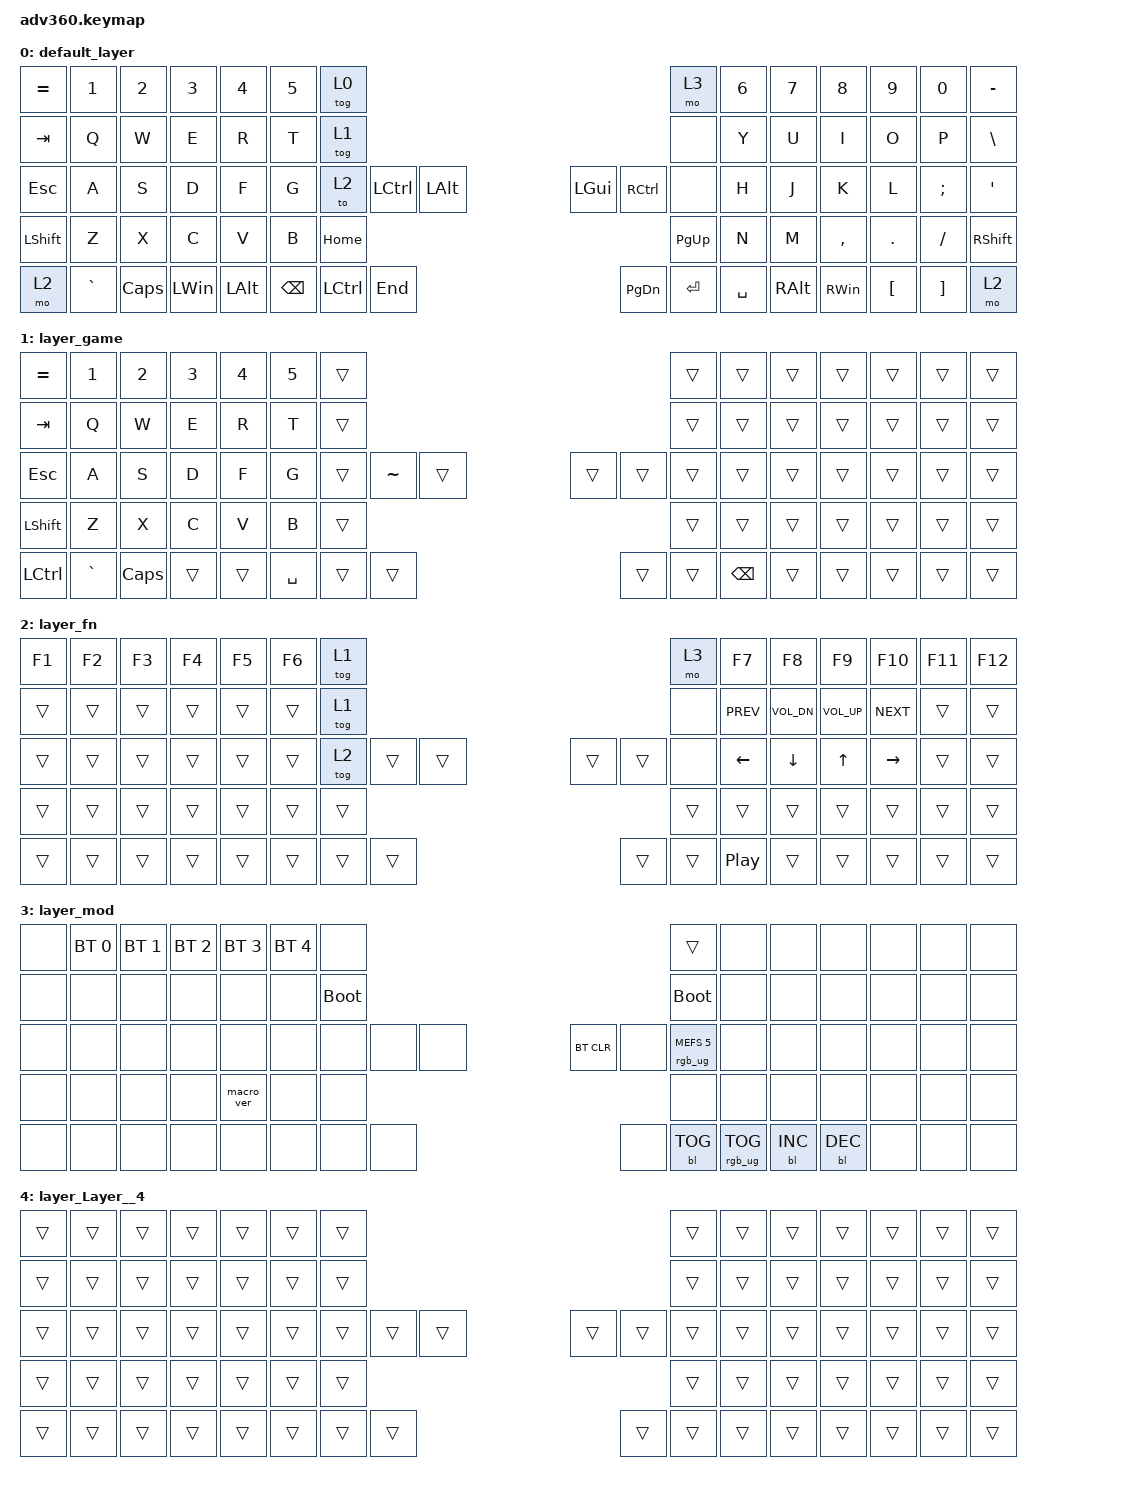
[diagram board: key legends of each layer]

/*
 * Copyright (c) 2020 The ZMK Contributors
 *
 * SPDX-License-Identifier: MIT
 */


/* THIS FILE WAS GENERATED!
 *
 * This file was generated automatically. You may or may not want to
 * edit it directly.
 */

#include <behaviors.dtsi>
#include <dt-bindings/zmk/keys.h>
#include <dt-bindings/zmk/bt.h>
#include <dt-bindings/zmk/rgb.h>
#include <dt-bindings/zmk/backlight.h>

/ {
  behaviors {
    #include "macros.dtsi"
    #include "version.dtsi"

    hm: homerow_mods {
        compatible = "zmk,behavior-hold-tap";
        label = "HOMEROW_MODS";
        #binding-cells = <2>;
        tapping-term-ms = <200>;
        quick_tap_ms = <175>;
        flavor = "tap-preferred";
        bindings = <&kp>, <&kp>;
    };
  };

    keymap {
        compatible = "zmk,keymap";


        default_layer {
            bindings = <
 &kp EQUAL     &kp N1    &kp N2        &kp N3        &kp N4  &kp N5              &tog 0                                                                 &mo 3  &kp N6         &kp N7         &kp N8    &kp N9    &kp N0  &kp MINUS
   &kp TAB      &kp Q     &kp W         &kp E         &kp R   &kp T              &tog 1                                                                 &none   &kp Y          &kp U          &kp I     &kp O     &kp P   &kp BSLH
   &kp ESC      &kp A     &kp S         &kp D         &kp F   &kp G               &to 2  &kp LCTRL  &kp LALT                   &kp LGUI  &kp RCTRL      &none   &kp H          &kp J          &kp K     &kp L  &kp SEMI    &kp SQT
 &kp LSHFT      &kp Z     &kp X         &kp C         &kp V   &kp B                                 &kp HOME                  &kp PG_UP                         &kp N          &kp M      &kp COMMA   &kp DOT  &kp FSLH  &kp RSHFT
     &mo 2  &kp GRAVE  &kp CAPS  &kp LEFT_WIN  &kp LEFT_ALT                    &kp BSPC  &kp LCTRL   &kp END                  &kp PG_DN  &kp ENTER  &kp SPACE          &kp RIGHT_ALT  &kp RIGHT_WIN  &kp LBKT  &kp RBKT      &mo 2
            >;
        };

        layer_game {
            bindings = <
 &kp EQUAL     &kp N1    &kp N2  &kp N3  &kp N4  &kp N5               &trans                                                            &trans  &trans  &trans  &trans  &trans  &trans  &trans
   &kp TAB      &kp Q     &kp W   &kp E   &kp R   &kp T               &trans                                                            &trans  &trans  &trans  &trans  &trans  &trans  &trans
   &kp ESC      &kp A     &kp S   &kp D   &kp F   &kp G               &trans  &kp TILDE  &trans                  &trans  &trans         &trans  &trans  &trans  &trans  &trans  &trans  &trans
 &kp LSHFT      &kp Z     &kp X   &kp C   &kp V   &kp B                                  &trans                  &trans                         &trans  &trans  &trans  &trans  &trans  &trans
 &kp LCTRL  &kp GRAVE  &kp CAPS  &trans  &trans                    &kp SPACE     &trans  &trans                  &trans  &trans  &kp BACKSPACE          &trans  &trans  &trans  &trans  &trans
            >;
        };

        layer_fn {
            bindings = <
 &kp F1  &kp F2  &kp F3  &kp F4  &kp F5  &kp F6            &tog 1                                                             &mo 3          &kp F7          &kp F8        &kp F9          &kp F10  &kp F11  &kp F12
 &trans  &trans  &trans  &trans  &trans  &trans            &tog 1                                                             &none      &kp C_PREV    &kp C_VOL_DN  &kp C_VOL_UP       &kp C_NEXT   &trans   &trans
 &trans  &trans  &trans  &trans  &trans  &trans            &tog 2  &trans  &trans                  &trans  &trans             &none  &kp LEFT_ARROW  &kp DOWN_ARROW  &kp UP_ARROW  &kp RIGHT_ARROW   &trans   &trans
 &trans  &trans  &trans  &trans  &trans  &trans                            &trans                  &trans                                    &trans          &trans        &trans           &trans   &trans   &trans
 &trans  &trans  &trans  &trans  &trans                    &trans  &trans  &trans                  &trans  &trans  &kp C_PLAY_PAUSE                          &trans        &trans           &trans   &trans   &trans
            >;
        };

        layer_mod {
            bindings = <
  &none  &bt BT_SEL 0  &bt BT_SEL 1  &bt BT_SEL 2  &bt BT_SEL 3  &bt BT_SEL 4                  &none                                                                          &trans   &none       &none       &none   &none   &none   &none
  &none         &none         &none         &none         &none         &none            &bootloader                                                                     &bootloader   &none       &none       &none   &none   &none   &none
  &none         &none         &none         &none         &none         &none                  &none   &none   &none                  &bt BT_CLR       &none  &rgb_ug RGB_MEFS_CMD 5   &none       &none       &none   &none   &none   &none
  &none         &none         &none         &none    &macro_ver         &none                                  &none                       &none                                       &none       &none       &none   &none   &none   &none
  &none         &none         &none         &none         &none                                &none   &none   &none                       &none  &bl BL_TOG         &rgb_ug RGB_TOG          &bl BL_INC  &bl BL_DEC   &none   &none   &none
            >;
        };

        layer_Layer__4 {
            bindings = <
 &trans  &trans  &trans  &trans  &trans  &trans            &trans                                                  &trans  &trans  &trans  &trans  &trans  &trans  &trans
 &trans  &trans  &trans  &trans  &trans  &trans            &trans                                                  &trans  &trans  &trans  &trans  &trans  &trans  &trans
 &trans  &trans  &trans  &trans  &trans  &trans            &trans  &trans  &trans                  &trans  &trans  &trans  &trans  &trans  &trans  &trans  &trans  &trans
 &trans  &trans  &trans  &trans  &trans  &trans                            &trans                  &trans                  &trans  &trans  &trans  &trans  &trans  &trans
 &trans  &trans  &trans  &trans  &trans                    &trans  &trans  &trans                  &trans  &trans  &trans          &trans  &trans  &trans  &trans  &trans
            >;
        };

    };
};
